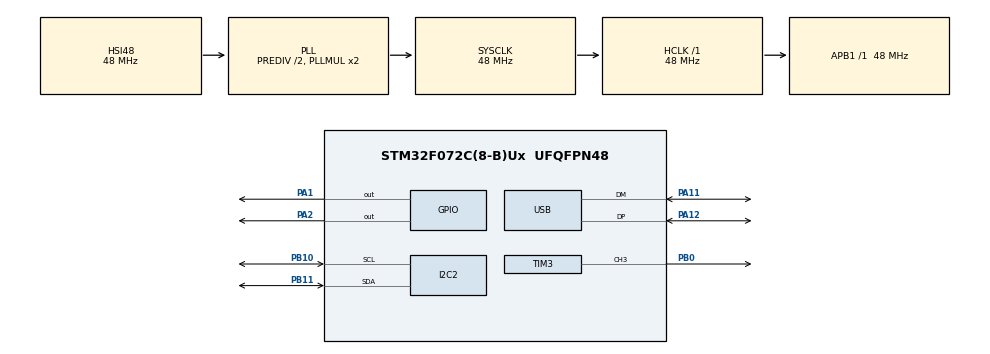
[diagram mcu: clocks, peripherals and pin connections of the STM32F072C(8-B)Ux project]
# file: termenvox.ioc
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I2C2.Speed=100
I2C2.Timing=0x20303E5D
Mcu.Family=STM32F0
Mcu.Name=STM32F072C(8-B)Ux
Mcu.Package=UFQFPN48
NVIC.USB_IRQn=true\:0\:0\:false\:false\:true
PA1.GPIO_ModeDefaultOutputPP=GPIO_MODE_OUTPUT_OD
PA1.GPIO_PuPd=GPIO_NOPULL
PA1.GPIO_Speed=GPIO_SPEED_LOW
PA1.Signal=GPIO_Output
PA11.Mode=Device
PA11.Signal=USB_DM
PA12.Mode=Device
PA12.Signal=USB_DP
PA13.Mode=Serial-WireDebug
PA13.Signal=SYS_SWDIO
PA14.Mode=Serial-WireDebug
PA14.Signal=SYS_SWCLK
PA2.GPIO_ModeDefaultOutputPP=GPIO_MODE_OUTPUT_OD
PA2.GPIO_PuPd=GPIO_NOPULL
PA2.GPIO_Speed=GPIO_SPEED_LOW
PA2.Signal=GPIO_Output
PB0.GPIO_ModeDefaultPP=GPIO_MODE_AF_PP
PB0.GPIO_PuPd=GPIO_NOPULL
PB0.GPIO_Speed=GPIO_SPEED_HIGH
PB0.Signal=S_TIM3_CH3
PB10.Mode=I2C
PB10.Signal=I2C2_SCL
PB11.Mode=I2C
PB11.Signal=I2C2_SDA
ProjectManager.TargetToolchain=MDK-ARM V5
RCC.AHBFreq_Value=48000000
RCC.APB1Freq_Value=48000000
RCC.APB1TimFreq_Value=48000000
RCC.HCLKFreq_Value=48000000
RCC.HSIState=RCC_HSI_ON
RCC.PLLDivider=RCC_PREDIV_DIV2
RCC.PLLSourceVirtual=RCC_PLLSOURCE_HSI48
RCC.SYSCLKFreq_VALUE=48000000
RCC.SYSCLKSource=RCC_SYSCLKSOURCE_PLLCLK
SH.S_TIM3_CH3.0=TIM3_CH3,PWM Generation3 CH3
TIM3.Channel-PWM\ Generation3\ CH3=TIM_CHANNEL_3
TIM3.ClockDivision=TIM_CLOCKDIVISION_DIV1
TIM3.Period=65535
TIM3.Prescaler=0
USB_DEVICE.CONFIGURATION_STRING_AUDIO_FS=MIDI Config
USB_DEVICE.INTERFACE_STRING_AUDIO_FS=MIDI Interface
USB_DEVICE.MANUFACTURER_STRING=Elmot (http\://elmot.xyz, me@elmot.xyz)
USB_DEVICE.PID_AUDIO_FS=1508
USB_DEVICE.PRODUCT_STRING_AUDIO_FS=Elmot ThermenVox
USB_DEVICE.SERIALNUMBER_STRING_AUDIO_FS=0.1
USB_DEVICE.USBD_HandleTypeDef=hUsbDeviceFS
USB_DEVICE.USBD_MAX_STR_DESC_SIZ=100
USB_DEVICE.USBD_SUPPORT_USER_STRING=1
USB_DEVICE.VID=5824
USB_DEVICE.VirtualMode=Audio
VP_TIM3_VS_ClockSourceINT.Mode=Internal
VP_USB_DEVICE_VS_USB_DEVICE_AUDIO_FS.Mode=AUDIO_FS
board=termenvox

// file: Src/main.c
/**
  ******************************************************************************
  * File Name          : main.c
  * Description        : Main program body
  ******************************************************************************
  *
  * COPYRIGHT(c) 2016 STMicroelectronics
  *
  * Redistribution and use in source and binary forms, with or without modification,
  * are permitted provided that the following conditions are met:
  *   1. Redistributions of source code must retain the above copyright notice,
  *      this list of conditions and the following disclaimer.
  *   2. Redistributions in binary form must reproduce the above copyright notice,
  *      this list of conditions and the following disclaimer in the documentation
  *      and/or other materials provided with the distribution.
  *   3. Neither the name of STMicroelectronics nor the names of its contributors
  *      may be used to endorse or promote products derived from this software
  *      without specific prior written permission.
  *
  * THIS SOFTWARE IS PROVIDED BY THE COPYRIGHT HOLDERS AND CONTRIBUTORS "AS IS"
  * AND ANY EXPRESS OR IMPLIED WARRANTIES, INCLUDING, BUT NOT LIMITED TO, THE
  * IMPLIED WARRANTIES OF MERCHANTABILITY AND FITNESS FOR A PARTICULAR PURPOSE ARE
  * DISCLAIMED. IN NO EVENT SHALL THE COPYRIGHT HOLDER OR CONTRIBUTORS BE LIABLE
  * FOR ANY DIRECT, INDIRECT, INCIDENTAL, SPECIAL, EXEMPLARY, OR CONSEQUENTIAL
  * DAMAGES (INCLUDING, BUT NOT LIMITED TO, PROCUREMENT OF SUBSTITUTE GOODS OR
  * SERVICES; LOSS OF USE, DATA, OR PROFITS; OR BUSINESS INTERRUPTION) HOWEVER
  * CAUSED AND ON ANY THEORY OF LIABILITY, WHETHER IN CONTRACT, STRICT LIABILITY,
  * OR TORT (INCLUDING NEGLIGENCE OR OTHERWISE) ARISING IN ANY WAY OUT OF THE USE
  * OF THIS SOFTWARE, EVEN IF ADVISED OF THE POSSIBILITY OF SUCH DAMAGE.
  *
  ******************************************************************************
  */
#include "stm32f0xx_hal.h"
#include "usb_device.h"

/* USER CODE BEGIN Includes */
#include "stdbool.h"
#include "string.h"
#include "vl6180x_api.h"

/* USER CODE END Includes */

I2C_HandleTypeDef hi2c2;

TIM_HandleTypeDef htim3;

/* USER CODE BEGIN PV */
/* Private variables ---------------------------------------------------------*/
#define BUFF_SIZE 200

#define volSensor  0x52
#define freqSensor  0x62

#define VOL_RESET_PORT GPIOA
#define FREQ_RESET_PORT GPIOA
#define VOL_RESET_PIN GPIO_PIN_2
#define FREQ_RESET_PIN GPIO_PIN_1

/* USER CODE END PV */

void SystemClock_Config(void);
static void MX_GPIO_Init(void);
static void MX_I2C2_Init(void);
static void MX_TIM3_Init(void);

void HAL_TIM_MspPostInit(TIM_HandleTypeDef *htim);

/* USER CODE BEGIN PFP */
/* Private function prototypes -----------------------------------------------*/
void VL6180x_Reset(VL6180xDev_t dev, GPIO_PinState state);
int  VL6180x_I2CWrite(VL6180xDev_t dev, uint8_t  *buff, uint8_t len);
void CUSTOM_GPIO_Init(void);
/* USER CODE END PFP */

/* USER CODE BEGIN 0 */
void sendMidi (USBD_HandleTypeDef *pdev, uint8_t * buf, size_t len);
static volatile int volume = 0;
static volatile int note = 0;
static volatile int old_volume = 127;
static volatile int old_note = 127;

VL6180x_RangeData_t rangeV;
VL6180x_RangeData_t rangeF;

void 		delay(int ms)
{
	uint32_t v = HAL_GetTick() + ms;
	while(HAL_GetTick() < v){
		__nop();
	}
}
/* USER CODE END 0 */

int main(void)
{

  /* MCU Configuration----------------------------------------------------------*/

  /* Reset of all peripherals, Initializes the Flash interface and the Systick. */
  HAL_Init();

  /* Configure the system clock */
  SystemClock_Config();

  /* Initialize all configured peripherals */
  MX_GPIO_Init();
  MX_I2C2_Init();
  MX_TIM3_Init();
  MX_USB_DEVICE_Init();

  /* USER CODE BEGIN 2 */
	CUSTOM_GPIO_Init();
  VL6180x_Reset(volSensor, GPIO_PIN_RESET);
  VL6180x_Reset(freqSensor, GPIO_PIN_RESET);
  delay(10);
	VL6180x_Reset(freqSensor, GPIO_PIN_SET);
  delay(1);

	VL6180x_WaitDeviceBooted(volSensor);
	VL6180x_DisableGPIOxOut(volSensor, 1);
	VL6180x_SetI2CAddress(volSensor, freqSensor);

  VL6180x_InitData(freqSensor);

	VL6180x_Reset(volSensor, GPIO_PIN_SET);
  delay(1);
  VL6180x_WaitDeviceBooted(volSensor);
	VL6180x_DisableGPIOxOut(volSensor, 1);
  VL6180x_InitData(volSensor);

    /* Enable Dmax calculation only if value is displayed (to save computation power) */
  VL6180x_DMaxSetState(volSensor, true);
  VL6180x_DMaxSetState(freqSensor, true);
	VL6180x_Prepare(volSensor);
	VL6180x_Prepare(freqSensor);

	HAL_TIM_Base_Start(&htim3);
	HAL_TIM_PWM_Start(&htim3, TIM_CHANNEL_3);
	while(HAL_GetTick()<2000);
  /* USER CODE END 2 */

  /* Infinite loop */
  while (1)
  {

  /* USER CODE BEGIN 3 */
		__HAL_DMA_GET_FLAG(&hdma1, DMA_FLAG_TC3);
		VL6180x_RangePollMeasurement(freqSensor, &rangeF);
		VL6180x_RangePollMeasurement(volSensor, &rangeV);

		if(rangeV.errorStatus == 0) {
			volume = 127 - rangeV.range_mm / 3;
			if(volume < 0 ) volume = 0;
			if(volume > 127) volume = 127;
		} else {
			volume = 0;
		}
		if(rangeF.errorStatus == 0){
			note = rangeF.range_mm / 3 + 10;
			if(note < 0 ) note = 0;
			if(note > 127) note = 127;
		} else {
			volume = 0;
		}

		if(volume == 0) {
			if(old_volume !=0)
					sendMidi (&hUsbDeviceFS, (uint8_t []){0x0b, 0xB2, 0x7B, 00}, 4); //All notes off
		} else if(old_volume == 0) {
				uint8_t note_seq[] = {0x0C, 0xC2, 0x13, 00, // Program change #2 into 19

				0x9, 0x92, 64, 64, //Note 64 at volume 64 ON channel 2

				0xe, 0xE2, note, note, //Pitch bend

				0xB, 0xB2, 0x07, volume, //Volume ?
//				0x2, 0x27, volume, 0//Volume ?
				};
				sendMidi (&hUsbDeviceFS, note_seq, sizeof(note_seq));
			//todo
//				uint8_t note_seq[] = {0xC2, 0x13, 0x92, 64, 64, 0xE2, note, note, 0xB2, 0x07, volume, 0x27, volume};
//				HAL_UART_Transmit_DMA(&huart1, note_seq, sizeof(note_seq));
		} else if(old_volume != volume || old_note != note) {
//				uint8_t note_seq[] = {0xE2, note, note, 0xB2, 0x07, volume, 0x27, volume};
//				HAL_UART_Transmit_DMA(&huart1, note_seq, sizeof(note_seq));
				uint8_t note_seq[] = {
				0xe, 0xE2, note, note, //Pitch bend

				0xB, 0xB2, 0x07, volume, //Volume ?
//				0x2, 0x27, volume, 0//Volume ?
				};
				sendMidi (&hUsbDeviceFS, note_seq, sizeof(note_seq));

		}
/*		while(huart1.hdmatx->State != HAL_DMA_STATE_READY) __wfi();
		UART_CheckIdleState(&huart1);
		if(old_note != note || old_volume != volume) {
			if(volume == 0) {
				uint8_t note_seq[] = {0xB2, 0x7B, 00};
				HAL_UART_Transmit_DMA(&huart1, note_seq, sizeof(note_seq));
			} else if(old_volume == 0) {
					uint8_t note_seq[] = {0xC2, 0x13, 0x92, 64, 64, 0xE2, note, note, 0xB2, 0x07, volume, 0x27, volume};
					HAL_UART_Transmit_DMA(&huart1, note_seq, sizeof(note_seq));
			} else {
					uint8_t note_seq[] = {0xE2, note, note, 0xB2, 0x07, volume, 0x27, volume};
					HAL_UART_Transmit_DMA(&huart1, note_seq, sizeof(note_seq));
			}
		}
*/
		old_note = note;
		old_volume = volume;
		__HAL_TIM_SET_COMPARE(&htim3, TIM_CHANNEL_3, volume * volume);
  }
	/*
	B47B00 -- all notes off
	C430 -- Contrabass
	B407402740 - Main volume 0x1020
	944040 -- note40 velocity 40

	E44040 - Pitch 0x2040
	*/
  /* USER CODE END 3 */

}

/** System Clock Configuration
*/
void SystemClock_Config(void)
{

  RCC_OscInitTypeDef RCC_OscInitStruct;
  RCC_ClkInitTypeDef RCC_ClkInitStruct;
  RCC_PeriphCLKInitTypeDef PeriphClkInit;

  RCC_OscInitStruct.OscillatorType = RCC_OSCILLATORTYPE_HSI48;
  RCC_OscInitStruct.HSI48State = RCC_HSI48_ON;
  RCC_OscInitStruct.PLL.PLLState = RCC_PLL_ON;
  RCC_OscInitStruct.PLL.PLLSource = RCC_PLLSOURCE_HSI48;
  RCC_OscInitStruct.PLL.PLLMUL = RCC_PLL_MUL2;
  RCC_OscInitStruct.PLL.PREDIV = RCC_PREDIV_DIV2;
  HAL_RCC_OscConfig(&RCC_OscInitStruct);

  RCC_ClkInitStruct.ClockType = RCC_CLOCKTYPE_HCLK|RCC_CLOCKTYPE_SYSCLK
                              |RCC_CLOCKTYPE_PCLK1;
  RCC_ClkInitStruct.SYSCLKSource = RCC_SYSCLKSOURCE_PLLCLK;
  RCC_ClkInitStruct.AHBCLKDivider = RCC_SYSCLK_DIV1;
  RCC_ClkInitStruct.APB1CLKDivider = RCC_HCLK_DIV1;
  HAL_RCC_ClockConfig(&RCC_ClkInitStruct, FLASH_LATENCY_1);

  PeriphClkInit.PeriphClockSelection = RCC_PERIPHCLK_USB;
  PeriphClkInit.UsbClockSelection = RCC_USBCLKSOURCE_HSI48;
  HAL_RCCEx_PeriphCLKConfig(&PeriphClkInit);

  HAL_SYSTICK_Config(HAL_RCC_GetHCLKFreq()/1000);

  HAL_SYSTICK_CLKSourceConfig(SYSTICK_CLKSOURCE_HCLK);

  /* SysTick_IRQn interrupt configuration */
  HAL_NVIC_SetPriority(SysTick_IRQn, 0, 0);
}

/* I2C2 init function */
void MX_I2C2_Init(void)
{

  hi2c2.Instance = I2C2;
  hi2c2.Init.Timing = 0x20303E5D;
  hi2c2.Init.OwnAddress1 = 0;
  hi2c2.Init.AddressingMode = I2C_ADDRESSINGMODE_7BIT;
  hi2c2.Init.DualAddressMode = I2C_DUALADDRESS_DISABLE;
  hi2c2.Init.OwnAddress2 = 0;
  hi2c2.Init.OwnAddress2Masks = I2C_OA2_NOMASK;
  hi2c2.Init.GeneralCallMode = I2C_GENERALCALL_DISABLE;
  hi2c2.Init.NoStretchMode = I2C_NOSTRETCH_DISABLE;
  HAL_I2C_Init(&hi2c2);

    /**Configure Analogue filter
    */
  HAL_I2CEx_ConfigAnalogFilter(&hi2c2, I2C_ANALOGFILTER_ENABLE);

}

/* TIM3 init function */
void MX_TIM3_Init(void)
{

  TIM_ClockConfigTypeDef sClockSourceConfig;
  TIM_MasterConfigTypeDef sMasterConfig;
  TIM_OC_InitTypeDef sConfigOC;

  htim3.Instance = TIM3;
  htim3.Init.Prescaler = 0;
  htim3.Init.CounterMode = TIM_COUNTERMODE_UP;
  htim3.Init.Period = 65535;
  htim3.Init.ClockDivision = TIM_CLOCKDIVISION_DIV1;
  HAL_TIM_Base_Init(&htim3);

  sClockSourceConfig.ClockSource = TIM_CLOCKSOURCE_INTERNAL;
  HAL_TIM_ConfigClockSource(&htim3, &sClockSourceConfig);

  HAL_TIM_PWM_Init(&htim3);

  sMasterConfig.MasterOutputTrigger = TIM_TRGO_RESET;
  sMasterConfig.MasterSlaveMode = TIM_MASTERSLAVEMODE_DISABLE;
  HAL_TIMEx_MasterConfigSynchronization(&htim3, &sMasterConfig);

  sConfigOC.OCMode = TIM_OCMODE_PWM1;
  sConfigOC.Pulse = 0;
  sConfigOC.OCPolarity = TIM_OCPOLARITY_HIGH;
  sConfigOC.OCFastMode = TIM_OCFAST_DISABLE;
  HAL_TIM_PWM_ConfigChannel(&htim3, &sConfigOC, TIM_CHANNEL_3);

  HAL_TIM_MspPostInit(&htim3);

}

/** Configure pins as
        * Analog
        * Input
        * Output
        * EVENT_OUT
        * EXTI
*/
void MX_GPIO_Init(void)
{

  GPIO_InitTypeDef GPIO_InitStruct;

  /* GPIO Ports Clock Enable */
  __HAL_RCC_GPIOA_CLK_ENABLE();
  __HAL_RCC_GPIOB_CLK_ENABLE();

  /*Configure GPIO pin Output Level */
  HAL_GPIO_WritePin(GPIOA, GPIO_PIN_1|GPIO_PIN_2, GPIO_PIN_RESET);

  /*Configure GPIO pins : PA1 PA2 */
  GPIO_InitStruct.Pin = GPIO_PIN_1|GPIO_PIN_2;
  GPIO_InitStruct.Mode = GPIO_MODE_OUTPUT_OD;
  GPIO_InitStruct.Pull = GPIO_NOPULL;
  GPIO_InitStruct.Speed = GPIO_SPEED_LOW;
  HAL_GPIO_Init(GPIOA, &GPIO_InitStruct);

}

/* USER CODE BEGIN 4 */
void CUSTOM_GPIO_Init(void)
{

  GPIO_InitTypeDef GPIO_InitStruct;

  /* GPIO Ports Clock Enable */
  __GPIOA_CLK_ENABLE();
  __GPIOB_CLK_ENABLE();

  /*Configure GPIO pins : PA1 PA2 */
  GPIO_InitStruct.Pin = GPIO_PIN_1|GPIO_PIN_2;
  GPIO_InitStruct.Mode = GPIO_MODE_OUTPUT_OD;
  GPIO_InitStruct.Pull = GPIO_PULLUP;
  GPIO_InitStruct.Speed = GPIO_SPEED_LOW;
  HAL_GPIO_Init(GPIOA, &GPIO_InitStruct);

}

void VL6180x_Reset(VL6180xDev_t device, GPIO_PinState state)
{
	if(device == volSensor) {
		HAL_GPIO_WritePin(VOL_RESET_PORT, VOL_RESET_PIN, state);
	} else {
		HAL_GPIO_WritePin(FREQ_RESET_PORT, FREQ_RESET_PIN, state);
	}
}

/**
 * @brief       Write data buffer to VL6180x device via i2c
 * @param dev   The device to write to
 * @param buff  The data buffer
 * @param len   The length of the transaction in byte
 * @return      0 on success
 * @ingroup cci_i2c
 */
int  VL6180x_I2CWrite(VL6180xDev_t dev, uint8_t  *buff, uint8_t len) {
	HAL_StatusTypeDef res =  HAL_I2C_Master_Transmit(&hi2c2, dev, buff,len, 20000);
	return res == HAL_OK ? 0 : -1;
}

/**
 *
 * @brief       Read data buffer from VL6180x device via i2c
 * @param dev   The device to read from
 * @param buff  The data buffer to fill
 * @param len   The length of the transaction in byte
 * @return      0 on success
 * @ingroup  cci_i2c
 */
int VL6180x_I2CRead(VL6180xDev_t dev, uint8_t *buff, uint8_t len) {
		HAL_StatusTypeDef res =  HAL_I2C_Master_Receive(&hi2c2, dev, buff, len, 20000);
	return res == HAL_OK ? 0 : -1;
}

void VL6180x_PollDelay(VL6180xDev_t dev) {}

/* USER CODE END 4 */

/************************ (C) COPYRIGHT STMicroelectronics *****END OF FILE****/
